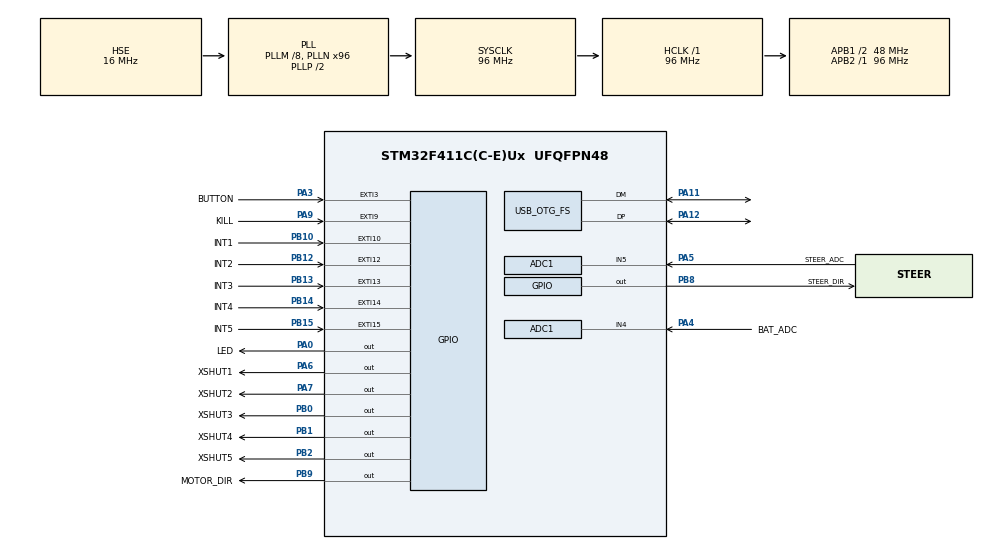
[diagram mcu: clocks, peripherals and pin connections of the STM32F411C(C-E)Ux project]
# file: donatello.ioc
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ADC1.Channel-0\#ChannelRegularConversion=ADC_CHANNEL_4
ADC1.NbrOfConversionFlag=1
ADC1.Rank-0\#ChannelRegularConversion=1
ADC1.SamplingTime-0\#ChannelRegularConversion=ADC_SAMPLETIME_3CYCLES
ADC1.master=1
FREERTOS.MEMORY_ALLOCATION=0
FREERTOS.Tasks01=defaultTask,2,128,StartDefaultTask,Default,NULL,Dynamic,NULL,NULL
FREERTOS.configENABLE_FPU=1
FREERTOS.configTOTAL_HEAP_SIZE=36000
Mcu.Family=STM32F4
Mcu.Name=STM32F411C(C-E)Ux
Mcu.Package=UFQFPN48
NVIC.EXTI3_IRQn=true\:5\:0\:false\:false\:true\:false\:true\:true\:true
NVIC.OTG_FS_IRQn=true\:5\:0\:false\:false\:true\:true\:false\:true\:true
NVIC.PriorityGroup=NVIC_PRIORITYGROUP_4
PA0-WKUP.GPIO_Label=LED
PA0-WKUP.GPIO_Speed=GPIO_SPEED_FREQ_LOW
PA0-WKUP.Signal=GPIO_Output
PA1.GPIO_Label=STEER_PWM
PA1.Signal=S_TIM2_CH2
PA11.Mode=Device_Only
PA11.Signal=USB_OTG_FS_DM
PA12.Mode=Device_Only
PA12.Signal=USB_OTG_FS_DP
PA13.Mode=Trace_Asynchronous_SW
PA13.Signal=SYS_JTMS-SWDIO
PA14.Mode=Trace_Asynchronous_SW
PA14.Signal=SYS_JTCK-SWCLK
PA2.GPIO_Label=MOTOR_PWM
PA2.Signal=S_TIM2_CH3
PA3.GPIO_Label=BUTTON
PA3.GPIO_ModeDefaultEXTI=GPIO_MODE_IT_FALLING
PA3.GPIO_PuPd=GPIO_PULLUP
PA3.Signal=GPXTI3
PA4.GPIO_Label=BAT_ADC
PA4.Signal=ADCx_IN4
PA5.GPIO_Label=STEER_ADC
PA5.Signal=ADCx_IN5
PA6.GPIO_Label=XSHUT1
PA6.GPIO_ModeDefaultOutputPP=GPIO_MODE_OUTPUT_OD
PA6.GPIO_PuPd=GPIO_PULLUP
PA6.PinState=GPIO_PIN_SET
PA6.Signal=GPIO_Output
PA7.GPIO_Label=XSHUT2
PA7.GPIO_ModeDefaultOutputPP=GPIO_MODE_OUTPUT_OD
PA7.GPIO_PuPd=GPIO_PULLUP
PA7.PinState=GPIO_PIN_SET
PA7.Signal=GPIO_Output
PA9.GPIO_Label=KILL
PA9.GPIO_ModeDefaultEXTI=GPIO_MODE_IT_FALLING
PA9.Signal=GPXTI9
PB0.GPIO_Label=XSHUT3
PB0.GPIO_ModeDefaultOutputPP=GPIO_MODE_OUTPUT_OD
PB0.GPIO_PuPd=GPIO_PULLUP
PB0.PinState=GPIO_PIN_SET
PB0.Signal=GPIO_Output
PB1.GPIO_Label=XSHUT4
PB1.GPIO_ModeDefaultOutputPP=GPIO_MODE_OUTPUT_OD
PB1.GPIO_PuPd=GPIO_PULLUP
PB1.PinState=GPIO_PIN_SET
PB1.Signal=GPIO_Output
PB10.GPIO_Label=INT1
PB10.GPIO_ModeDefaultEXTI=GPIO_MODE_IT_FALLING
PB10.GPIO_PuPd=GPIO_PULLUP
PB10.Signal=GPXTI10
PB12.GPIO_Label=INT2
PB12.GPIO_ModeDefaultEXTI=GPIO_MODE_IT_FALLING
PB12.GPIO_PuPd=GPIO_PULLUP
PB12.Signal=GPXTI12
PB13.GPIO_Label=INT3
PB13.GPIO_ModeDefaultEXTI=GPIO_MODE_IT_FALLING
PB13.GPIO_PuPd=GPIO_PULLUP
PB13.Signal=GPXTI13
PB14.GPIO_Label=INT4
PB14.GPIO_ModeDefaultEXTI=GPIO_MODE_IT_FALLING
PB14.GPIO_PuPd=GPIO_PULLUP
PB14.Signal=GPXTI14
PB15.GPIO_Label=INT5
PB15.GPIO_ModeDefaultEXTI=GPIO_MODE_IT_FALLING
PB15.GPIO_PuPd=GPIO_PULLUP
PB15.Signal=GPXTI15
PB2.GPIO_Label=XSHUT5
PB2.GPIO_ModeDefaultOutputPP=GPIO_MODE_OUTPUT_OD
PB2.GPIO_PuPd=GPIO_PULLUP
PB2.PinState=GPIO_PIN_SET
PB2.Signal=GPIO_Output
PB3.Mode=Trace_Asynchronous_SW
PB3.Signal=SYS_JTDO-SWO
PB4.GPIO_Label=ENC_A
PB4.Signal=S_TIM3_CH1
PB5.GPIO_Label=ENC_B
PB5.Signal=S_TIM3_CH2
PB6.GPIO_Label=SCL
PB6.Signal=I2C1_SCL
PB7.GPIO_Label=SDA
PB7.Signal=I2C1_SDA
PB8.GPIO_Label=STEER_DIR
PB8.Signal=GPIO_Output
PB9.GPIO_Label=MOTOR_DIR
PB9.Signal=GPIO_Output
PH0\ -\ OSC_IN.Mode=HSE-External-Oscillator
PH0\ -\ OSC_IN.Signal=RCC_OSC_IN
PH1\ -\ OSC_OUT.Mode=HSE-External-Oscillator
PH1\ -\ OSC_OUT.Signal=RCC_OSC_OUT
ProjectManager.HeapSize=0x600
ProjectManager.StackSize=0x800
ProjectManager.TargetToolchain=STM32CubeIDE
RCC.48MHZClocksFreq_Value=48000000
RCC.AHBFreq_Value=96000000
RCC.APB1CLKDivider=RCC_HCLK_DIV2
RCC.APB1Freq_Value=48000000
RCC.APB1TimFreq_Value=96000000
RCC.APB2Freq_Value=96000000
RCC.APB2TimFreq_Value=96000000
RCC.CortexFreq_Value=96000000
RCC.EnbaleCSS=true
RCC.HCLKFreq_Value=96000000
RCC.HSE_VALUE=16000000
RCC.HSI_VALUE=16000000
RCC.LSE_VALUE=32768
RCC.PLLM=8
RCC.PLLN=96
RCC.SYSCLKFreq_VALUE=96000000
RCC.SYSCLKSource=RCC_SYSCLKSOURCE_PLLCLK
RCC.VCOOutputFreq_Value=192000000
SH.ADCx_IN4.0=ADC1_IN4,IN4
SH.ADCx_IN5.0=ADC1_IN5,IN5
SH.S_TIM2_CH2.0=TIM2_CH2
SH.S_TIM2_CH3.0=TIM2_CH3
SH.S_TIM3_CH1.0=TIM3_CH1
SH.S_TIM3_CH2.0=TIM3_CH2
USB_DEVICE.CLASS_NAME_FS=CDC
USB_DEVICE.VirtualMode=Cdc
USB_DEVICE.VirtualModeFS=Cdc_FS
USB_OTG_FS.VirtualMode=Device_Only
VP_FREERTOS_VS_CMSIS_V1.Mode=CMSIS_V1
VP_USB_DEVICE_VS_USB_DEVICE_CDC_FS.Mode=CDC_FS
board=custom

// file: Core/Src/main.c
/* USER CODE BEGIN Header */
/**
 ******************************************************************************
 * @file           : main.c
 * @brief          : Main program body
 ******************************************************************************
 * @attention
 *
 * Copyright (c) 2023 STMicroelectronics.
 * All rights reserved.
 *
 * This software is licensed under terms that can be found in the LICENSE file
 * in the root directory of this software component.
 * If no LICENSE file comes with this software, it is provided AS-IS.
 *
 ******************************************************************************
 */
/* USER CODE END Header */
#include "main.h"
#include "adc.h"
#include "cmsis_os.h"
#include "gpio.h"
#include "usb_device.h"

/* USER CODE BEGIN Includes */
#include <string.h>

#include "stm32f4xx_it.h"
#include "usbd_cdc_if.h"
/* USER CODE END Includes */

void SystemClock_Config(void);
void MX_FREERTOS_Init(void);

int main(void) {

    /* MCU Configuration--------------------------------------------------------*/

    /* Reset of all peripherals, Initializes the Flash interface and the Systick. */
    HAL_Init();

    /* Configure the system clock */
    SystemClock_Config();

    /* Initialize all configured peripherals */
    MX_GPIO_Init();
    MX_ADC1_Init();

    /* Call init function for freertos objects (in freertos.c) */
    MX_FREERTOS_Init();

    /* Start scheduler */
    osKernelStart();

    /* We should never get here as control is now taken by the scheduler */
    /* Infinite loop */
    while (1) {

    }
}

void SystemClock_Config(void) {
    RCC_OscInitTypeDef RCC_OscInitStruct = {0};
    RCC_ClkInitTypeDef RCC_ClkInitStruct = {0};

    /** Configure the main internal regulator output voltage
  */
    __HAL_RCC_PWR_CLK_ENABLE();
    __HAL_PWR_VOLTAGESCALING_CONFIG(PWR_REGULATOR_VOLTAGE_SCALE1);

    /** Initializes the RCC Oscillators according to the specified parameters
  * in the RCC_OscInitTypeDef structure.
  */
    RCC_OscInitStruct.OscillatorType = RCC_OSCILLATORTYPE_HSE;
    RCC_OscInitStruct.HSEState = RCC_HSE_ON;
    RCC_OscInitStruct.PLL.PLLState = RCC_PLL_ON;
    RCC_OscInitStruct.PLL.PLLSource = RCC_PLLSOURCE_HSE;
    RCC_OscInitStruct.PLL.PLLM = 8;
    RCC_OscInitStruct.PLL.PLLN = 96;
    RCC_OscInitStruct.PLL.PLLP = RCC_PLLP_DIV2;
    RCC_OscInitStruct.PLL.PLLQ = 4;
    if (HAL_RCC_OscConfig(&RCC_OscInitStruct) != HAL_OK) {
        Error_Handler();
    }

    /** Initializes the CPU, AHB and APB buses clocks
  */
    RCC_ClkInitStruct.ClockType = RCC_CLOCKTYPE_HCLK | RCC_CLOCKTYPE_SYSCLK | RCC_CLOCKTYPE_PCLK1 | RCC_CLOCKTYPE_PCLK2;
    RCC_ClkInitStruct.SYSCLKSource = RCC_SYSCLKSOURCE_PLLCLK;
    RCC_ClkInitStruct.AHBCLKDivider = RCC_SYSCLK_DIV1;
    RCC_ClkInitStruct.APB1CLKDivider = RCC_HCLK_DIV2;
    RCC_ClkInitStruct.APB2CLKDivider = RCC_HCLK_DIV1;

    if (HAL_RCC_ClockConfig(&RCC_ClkInitStruct, FLASH_LATENCY_3) != HAL_OK) {
        Error_Handler();
    }

    /** Enables the Clock Security System
  */
    HAL_RCC_EnableCSS();
}

void Error_Handler(void) {
    /* USER CODE BEGIN Error_Handler_Debug */
    /* User can add his own implementation to report the HAL error return state */
    __disable_irq();
    HardFault_Handler();

    while (1) {}
    /* USER CODE END Error_Handler_Debug */
}

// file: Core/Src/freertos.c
/* USER CODE BEGIN Header */
/**
 ******************************************************************************
 * File Name          : freertos.c
 * Description        : Code for freertos applications
 ******************************************************************************
 * @attention
 *
 * Copyright (c) 2023 STMicroelectronics.
 * All rights reserved.
 *
 * This software is licensed under terms that can be found in the LICENSE file
 * in the root directory of this software component.
 * If no LICENSE file comes with this software, it is provided AS-IS.
 *
 ******************************************************************************
 */
/* USER CODE END Header */

#include "FreeRTOS.h"
#include "cmsis_os.h"
#include "main.h"
#include "task.h"

/* USER CODE BEGIN Includes */
#include "User/button.h"
#include "User/cli.h"
#include "User/coms.h"
/* USER CODE END Includes */

/* USER CODE BEGIN Variables */
osThreadId comsTaskHandle;
osThreadId cliTaskHandle;
osThreadId buttonTaskHandle;
/* USER CODE END Variables */
osThreadId defaultTaskHandle;

void StartDefaultTask(void const* argument);

extern void MX_USB_DEVICE_Init(void);
void        MX_FREERTOS_Init(void); /* (MISRA C 2004 rule 8.1) */

void MX_FREERTOS_Init(void) {

    /* Create the thread(s) */
    /* definition and creation of defaultTask */
    osThreadDef(defaultTask, StartDefaultTask, osPriorityHigh, 0, 128);
    defaultTaskHandle = osThreadCreate(osThread(defaultTask), NULL);

    /* USER CODE BEGIN RTOS_THREADS */
    osThreadDef(comsTask, coms_task, osPriorityHigh, 0, 256);
    comsTaskHandle = osThreadCreate(osThread(comsTask), NULL);

    osThreadDef(cliTask, cli_task, osPriorityNormal, 0, 512); // Requires fair amount of space
    cliTaskHandle = osThreadCreate(osThread(cliTask), NULL);

    osThreadDef(buttonTask, button_task, osPriorityNormal, 0, 512);
    buttonTaskHandle = osThreadCreate(osThread(buttonTask), NULL);
    /* USER CODE END RTOS_THREADS */
}

void StartDefaultTask(void const* argument) {
    /* init code for USB_DEVICE */
    MX_USB_DEVICE_Init();
    /* USER CODE BEGIN StartDefaultTask */
    /* Infinite loop */
    for (;;) {
        osDelay(500);
    }
    /* USER CODE END StartDefaultTask */
}
